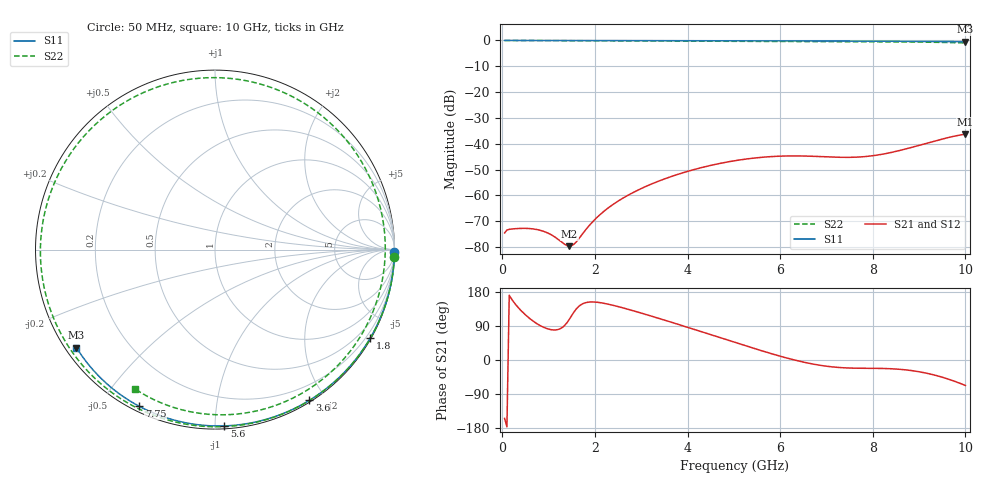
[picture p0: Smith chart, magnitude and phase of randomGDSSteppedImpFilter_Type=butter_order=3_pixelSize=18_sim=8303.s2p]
! freq	dB(S11)	phase(S11)	dB(S12)	phase(S12)
!  dB(S21)	phase(S21)	dB(S22)	phase(S22)
!S-par simulation data
#  GHz  S  DB  R 50
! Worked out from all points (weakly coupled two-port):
!   200 points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, 50 MHz to 10 GHz, reference 50 ohm
!   highest |S21| = -36.28 dB at 10 GHz (marker M1); lowest = -79.7 dB at 1.45 GHz (marker M2)
!   lowest |S11| = -0.5 dB at 10 GHz (marker M3), VSWR 35.70, Z = 1.54 - j15.9 ohm
!   |S11| at or under -10 dB: nowhere
!   |S22| runs from -1.0 to 0.0 dB; largest |S21 - S12| = 0
!   S11 on the Smith chart (normalised r, x): 50 MHz: open; 1.8 GHz: 0.03, -3.77; 3.6 GHz: 0.02, -1.81; 5.6 GHz: 0.02, -1.05; 7.75 GHz: 0.02, -0.63; 10 GHz: 0.03, -0.32
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0.05  -0.00 -0.8  -74.55 -154.1  -74.55 -154.1  -0.00 -2.2
0.2  -0.00 -3.4  -73.02 160.9  -73.02 160.9  -0.00 -8.9
0.75  -0.01 -12.5  -73.24 95.7  -73.24 95.7  -0.04 -33.2
1.45  -0.03 -24.0  -79.67 107.9  -79.67 107.9  -0.08 -63.4
1.75  -0.04 -28.9  -74.49 149.2  -74.49 149.2  -0.10 -76.1
1.8  -0.04 -29.7  -73.34 151.3  -73.34 151.3  -0.10 -78.2
2.15  -0.05 -35.3  -66.83 150.6  -66.83 150.6  -0.12 -92.8
2.55  -0.05 -41.7  -61.66 139.4  -61.66 139.4  -0.14 -109.3
3.4  -0.07 -54.9  -54.31 109.1  -54.31 109.1  -0.18 -144.4
3.6  -0.08 -57.9  -53.00 101.6  -53.00 101.6  -0.20 -152.8
4.35  -0.10 -69.1  -49.02 72.8  -49.02 72.8  -0.25 174.6
5.05  -0.12 -79.3  -46.49 45.5  -46.49 45.5  -0.30 141.9
5.6  -0.14 -87.0  -45.26 24.5  -45.26 24.5  -0.34 114.1
6.15  -0.17 -94.6  -44.74 5.0  -44.74 5.0  -0.38 84.4
6.7  -0.20 -102.0  -44.86 -10.5  -44.86 -10.5  -0.41 53.5
7.25  -0.23 -109.3  -45.23 -19.6  -45.23 -19.6  -0.43 22.3
7.75  -0.27 -115.8  -45.09 -21.8  -45.09 -21.8  -0.46 -5.4
8.35  -0.32 -123.5  -43.56 -22.8  -43.56 -22.8  -0.52 -37.2
8.8  -0.36 -129.3  -41.60 -27.4  -41.60 -27.4  -0.58 -60.0
9.2  -0.40 -134.4  -39.63 -35.9  -39.63 -35.9  -0.67 -79.8
9.6  -0.44 -139.6  -37.73 -49.2  -37.73 -49.2  -0.79 -99.6
10  -0.49 -144.7  -36.28 -67.2  -36.28 -67.2  -0.96 -119.8
